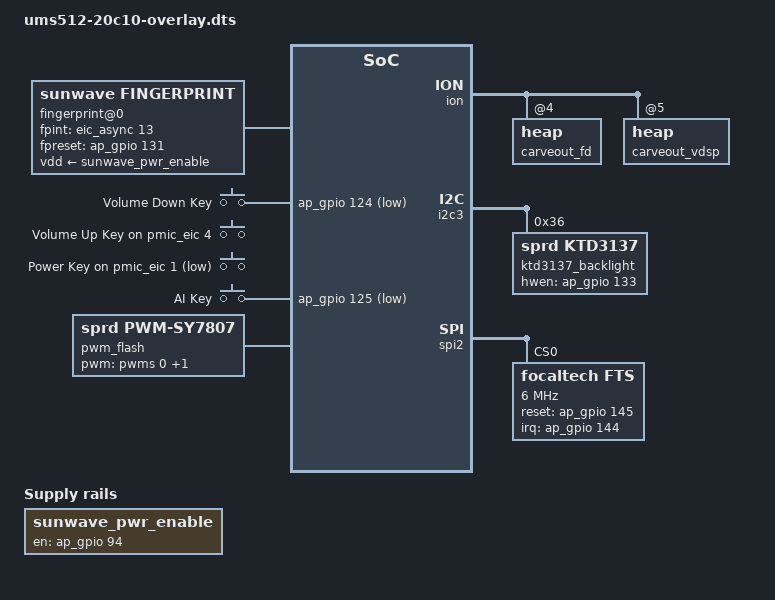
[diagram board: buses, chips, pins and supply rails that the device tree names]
/dts-v1/;
/plugin/;

#include <dt-bindings/input/input.h>
#include <dt-bindings/gpio/gpio.h>

/ {
	fragment {
		target-path = "/";
		__overlay__ {
			sprd-wlan {
				compatible = "sprd,sc2355-wifi";
			};

			sunwave_pwr_enable: gpio-regulator {
				compatible = "regulator-fixed";
				regulator-name = "sunwave_ldo";
				gpio = <&ap_gpio 94 0>;
				enable-active-high;
				regulator-always-on;
			};

			fingerprint@0 {
				compatible = "sunwave,fingerprint";
				fpint-gpio = <&eic_async 13 0>;
				fpreset-gpio = <&ap_gpio 131 0>;
				vdd-supply = <&sunwave_pwr_enable>;
			};

			gpio-keys {
				compatible = "gpio-keys";

				key-volumedown {
					label = "Volume Down Key";
					linux,code = <KEY_VOLUMEDOWN>;
					gpios = <&ap_gpio 124 GPIO_ACTIVE_LOW>;
					debounce-interval = <2>;
					wakeup-source;
				};

				key-volumeup {
					label = "Volume Up Key";
					linux,code = <KEY_VOLUMEUP>;
					gpios = <&pmic_eic 4 GPIO_ACTIVE_HIGH>;
					debounce-interval = <2>;
					wakeup-source;
				};

				key-power {
					label = "Power Key";
					linux,code = <KEY_POWER>;
					gpios = <&pmic_eic 1 GPIO_ACTIVE_LOW>;
					debounce-interval = <2>;
					wakeup-source;
				};

				key-ai {
					label = "AI Key";
					linux,code = <766>;
					gpios = <&ap_gpio 125 GPIO_ACTIVE_LOW>;
					debounce-interval = <2>;
					wakeup-source;
				};
			};

			pwm_flash: pwm_flash {
					compatible = "sprd,pwm-sy7807";
					pwms = <&pwms 0 40000 &pwms 1 40000>;
					pwm-names = "pwm0","pwm1";
					#pwm-cells = <2>;
			};
		};
	};

};

&reserved_memory {

	fd_reserved: faceid-mem@efaae000 {
		reg = <0x0 0xefaae000 0x0 0x00f00000>;
	};

	vdsp_reserved: vdsp-mem@f09ae000 {
		reg = <0x0 0xf09ae000 0x0 0x03700000>;
	};

	vsp_reserved: vsp-mem@f40ae000 {
		reg = <0x0 0xf40ae000 0x0 0x07800000>;
	};
/*
	gpu_reserved: gpu-mem@fb8ae000 {
		reg = <0x0 0xfb8ae000 0x0 0x01e5a000>;
	};
*/
};

&ion {
	heap@4 {
		reg = <4>;
		label = "carveout_fd";
		type = <2>;
		memory-region = <&fd_reserved>;
	};

	heap@5 {
		reg = <5>;
		label = "carveout_vdsp";
		type = <2>;
		memory-region = <&vdsp_reserved>;
	};
};

&soc {
	his_devinfo {
		status = "okay";

		/* The number of name and value MUST be same */
		dev,keymap-names = "POWER", "DOWN", "UP", "AI";
		dev,keymap-values = <116>, <114>, <115>, <766>;
		dev,prot-gpios = <
			0  1  2  3>;
	};
};

&i2c3 {
	status = "okay";

	ktd3137_backlight: sprd_backlight {
		status = "okay";
		compatible = "sprd,ktd3137";
		reg = <0x36>;
		hwen-gpio = <&ap_gpio 133 GPIO_ACTIVE_HIGH>;
		ktd,using-lsb;
		ktd,using-linear;
		ktd,bl-fscal-led = <0x99>;/*default 20.2mA*/
		ktd,turn-on-ramp = <0>; /* Should add ms value, please check datasheet*/
		ktd,turn-off-ramp = <0>;  /* Should add ms value, please check datasheet*/
		ktd,i2c-trans-dim = <0>;  /* Should add ms value, please check datasheet*/
		ktd,bl-channel = <2>;
		ktd,ovp-level = <32>; /*default 32v*/
		ktd,inductor-current = <1800>; /*dfault 2600mA*/
		ktd,switching-frequency = <1000>;/*dfault 1000KHz*/
	};
};

&panel {
	sprd,backlight = <&ktd3137_backlight>;
};

&ddr_dfs {
	sprd-scene = "boost", "lcdon", "lcdoff", "camlow",
		"camhigh", "camveryhigh";
	sprd-freq = <1024 768 256 384 512 1024>;
};

&spi2 {
	/*used for fingerprint sensor*/
	sprd,dma-mode = <0>;
	status = "okay";

	focaltech@0 {
		compatible = "focaltech,fts";
		reg = <0x0>;
		spi-max-frequency = <6000000>;
		interrupt-parent = <&ap_gpio>;
		interrupts = <144 0x2000>;
		focaltech,reset-gpio = <&ap_gpio 145 GPIO_ACTIVE_HIGH>;
		focaltech,irq-gpio = <&ap_gpio 144 GPIO_ACTIVE_HIGH>;
		focaltech,max-touch-number = <5>;
		focaltech,display-coords =  <0 0 720 1600>;
	};
};
